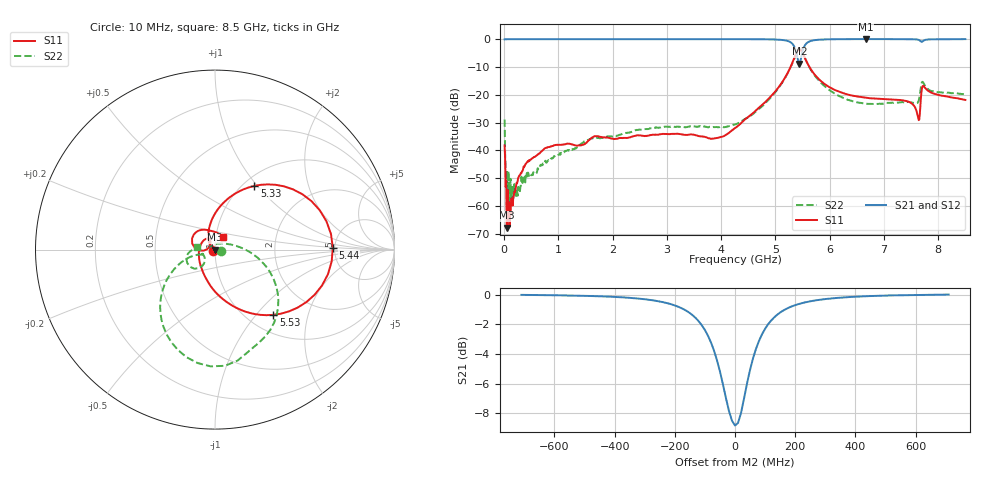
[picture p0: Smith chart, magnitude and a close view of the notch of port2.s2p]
! RsaToolbox (C) 2015 Rohde & Schwarz America
! Number of points: 850
! Number of ports: 2
! Balanced ports?: No
# Hz S RI R 50
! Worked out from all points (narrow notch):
!   850 points, 10 MHz to 8.5 GHz, reference 50 ohm
!   highest |S21| = 0.04 dB at 6.66 GHz (marker M1); lowest = -8.8 dB at 5.44 GHz (marker M2)
!   notch at M2: 8.8 dB deep, 119 MHz wide at half that depth
!   lowest |S11| = -67.7 dB at 50 MHz (marker M3), VSWR 1.00, Z = 50 - j0.034 ohm
!   |S11| at or under -10 dB: start of sweep to 5.278 GHz; 5.626 GHz to end of sweep
!   |S22| runs from -61.8 to -3.7 dB; largest |S21 - S12| = 0
!   S11 on the Smith chart (normalised r, x): 10 MHz: 0.98, -0.01; 5.33 GHz: 1.12, +0.97; 5.44 GHz: 4.81, +0.18; 5.53 GHz: 1.30, -1.24; 8.5 GHz: 1.08, +0.15
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1e7  -0.0111 -0.00534  0.9911 -0.00811  0.9911 -0.00811  0.0352 -0.00758
5e7  0.000231 -0.000339  1 -0.0349  1 -0.0349  0.000815 -6.16e-06
8e7  -0.000695 -0.000436  0.9989 -0.057  0.9989 -0.057  0.00428 -0.000194
1.2e8  -1.68e-05 -0.000694  0.9974 -0.0843  0.9974 -0.0843  0.00195 -0.00241
2.7e8  -0.000384 -0.00333  0.9829 -0.1884  0.9829 -0.1884  0.00149 -0.00135
4.5e8  -0.00337 -0.00537  0.951 -0.312  0.951 -0.312  0.00202 -0.00328
8.2e8  -0.0102 -0.00543  0.8379 -0.5475  0.8379 -0.5475  0.00304 -0.00604
1.43e9  -0.0125 0.000157  0.5328 -0.8469  0.5328 -0.8469  -0.0037 -0.013
2.84e9  -0.0138 0.0135  -0.4252 -0.9068  -0.4252 -0.9068  -0.0255 0.00231
3.85e9  -0.00877 0.0138  -0.9198 -0.3947  -0.9198 -0.3947  -0.0153 0.0215
4.26e9  -0.0199 0.0159  -0.9953 -0.1033  -0.9953 -0.1033  0.00319 0.0295
4.99e9  -0.0351 0.1075  -0.8676 0.4697  -0.8676 0.4697  0.1071 0.0234
5.33e9  0.2196 0.3549  -0.4082 0.6736  -0.4082 0.6736  0.344 -0.217
5.44e9  0.6562 0.0108  -0.281 0.2296  -0.281 0.2296  0.1254 -0.6185
5.53e9  0.325 -0.3636  -0.707 0.2039  -0.707 0.2039  -0.2983 -0.3905
5.67e9  0.0351 -0.2684  -0.7797 0.5245  -0.7797 0.5245  -0.2361 -0.1194
6.09e9  -0.0788 -0.0945  -0.4998 0.8642  -0.4998 0.8642  -0.1015 -0.0296
6.66e9  -0.0888 -0.00453  -0.0737 1.001  -0.0737 1.001  -0.063 -0.0306
7.09e9  -0.0731 0.0391  0.2457 0.9724  0.2457 0.9724  -0.0658 -0.0284
7.62e9  -0.0242 0.0351  0.6084 0.7717  0.6084 0.7717  -0.0579 -0.0428
7.72e9  -0.1182 0.0837  0.5609 0.7382  0.5609 0.7382  -0.1591 -0.0548
8.5e9  0.0436 0.0682  0.9488 0.3263  0.9488 0.3263  -0.0997 0.0171
